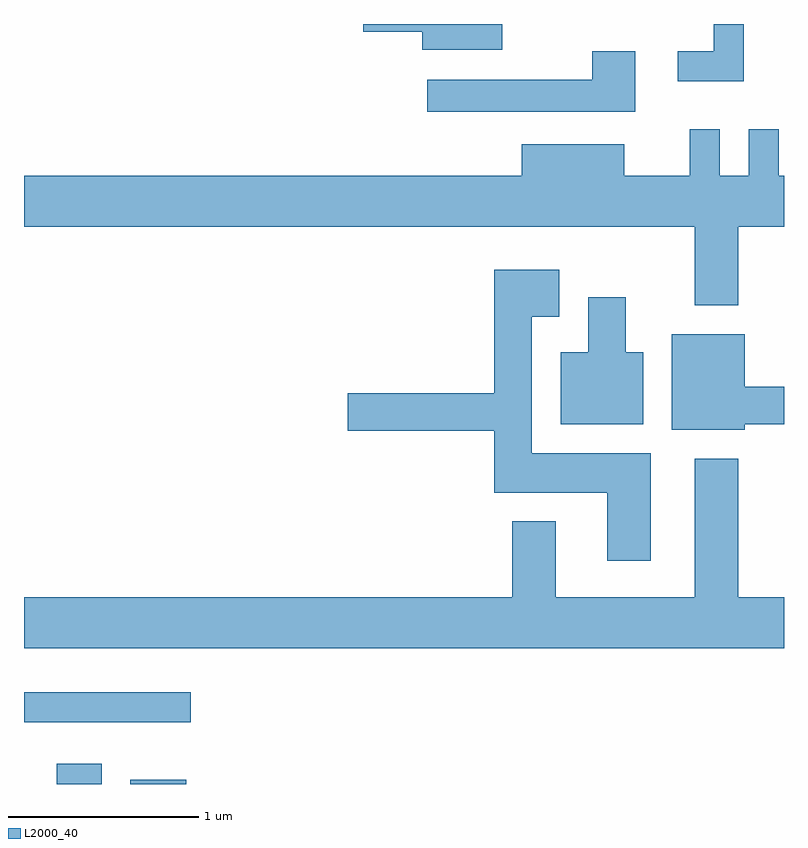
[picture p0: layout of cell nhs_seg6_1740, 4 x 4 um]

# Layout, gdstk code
import gdstk
lib = gdstk.Library(unit=1e-6, precision=1e-09)
def R(c, l, rs):  # rectangles x0, y0, x1, y1
    for r in rs: c.add(gdstk.rectangle(r[:2], r[2:], *l))
def P(c, l, *ps):  # polygons
    for p in ps: c.add(gdstk.Polygon(p, *l))
L2000_40 = (2000, 40)

nhs_seg6_1740 = lib.new_cell('nhs_seg6_1740')
R(nhs_seg6_1740, L2000_40, [(237.783,1598.162,238.019,1598.269), (238.171,1598.162,238.464,1598.184), (237.611,1598.486,238.488,1598.644)])
P(nhs_seg6_1740, L2000_40, [(240.129,1602.162),(239.396,1602.162),(239.396,1602.121),(239.706,1602.121),(239.706,1602.026),(240.129,1602.026)],
  [(241.399,1602.162),(241.241,1602.162),(241.241,1602.019),(241.053,1602.019),(241.053,1601.861),(241.399,1601.861)],
  [(240.829,1602.019),(240.601,1602.019),(240.601,1601.869),(239.733,1601.869),(239.733,1601.701),(240.829,1601.701)],
  [(241.369,1601.096),(241.611,1601.096),(241.611,1601.364),(241.584,1601.364),(241.584,1601.608),(241.426,1601.608),(241.426,1601.364),(241.274,1601.364),(241.274,1601.608),(241.116,1601.608),(241.116,1601.364),(240.769,1601.364),(240.769,1601.529),(240.231,1601.529),(240.231,1601.364),(237.611,1601.364),(237.611,1601.096),(241.141,1601.096),(241.141,1600.681),(241.369,1600.681)],
  [(240.909,1599.904),(240.284,1599.904),(240.284,1600.621),(240.429,1600.621),(240.429,1600.869),(240.086,1600.869),(240.086,1600.219),(239.316,1600.219),(239.316,1600.021),(240.086,1600.021),(240.086,1599.696),(240.681,1599.696),(240.681,1599.336),(240.909,1599.336)],
  [(240.869,1600.434),(240.779,1600.434),(240.779,1600.724),(240.581,1600.724),(240.581,1600.434),(240.436,1600.434),(240.436,1600.056),(240.869,1600.056)],
  [(241.404,1600.056),(241.611,1600.056),(241.611,1600.254),(241.404,1600.254),(241.404,1600.529),(241.021,1600.529),(241.021,1600.026),(241.404,1600.026)],
  [(241.611,1599.144),(241.369,1599.144),(241.369,1599.874),(241.141,1599.874),(241.141,1599.144),(240.409,1599.144),(240.409,1599.544),(240.181,1599.544),(240.181,1599.144),(237.611,1599.144),(237.611,1598.876),(241.611,1598.876)])

lib.write_gds('nhs_seg6_1740.gds')
